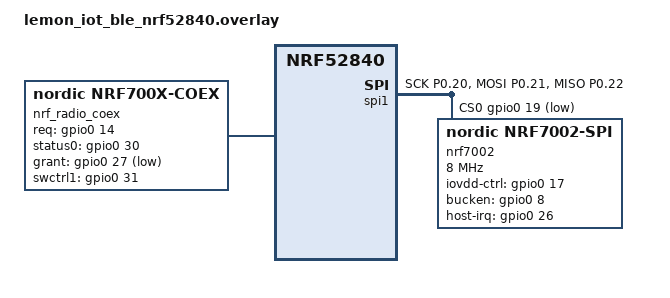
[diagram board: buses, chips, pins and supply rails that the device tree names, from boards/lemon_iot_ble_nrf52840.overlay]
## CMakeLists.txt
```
# SPDX-License-Identifier: Apache-2.0

cmake_minimum_required(VERSION 3.20.0)

find_package(Zephyr REQUIRED HINTS $ENV{ZEPHYR_BASE})
project(wifi_client)

FILE(GLOB app_sources src/*.c)
target_sources(app PRIVATE ${app_sources})
```

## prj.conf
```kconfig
#
# Copyright (c) 2022 Nordic Semiconductor ASA
#
# SPDX-License-Identifier: LicenseRef-Nordic-5-Clause
#
CONFIG_WIFI=y
CONFIG_WIFI_NRF700X=y

# WPA supplicant
CONFIG_WPA_SUPP=y

# System settings
CONFIG_NEWLIB_LIBC=y
CONFIG_NEWLIB_LIBC_NANO=n

# Networking
CONFIG_NETWORKING=y
CONFIG_NET_SOCKETS=y
CONFIG_POSIX_API=y
CONFIG_NET_LOG=y
CONFIG_NET_IPV4=y
CONFIG_NET_UDP=y
CONFIG_NET_TCP=y
CONFIG_DNS_RESOLVER=y
CONFIG_DNS_RESOLVER_AI_MAX_ENTRIES=10
CONFIG_NET_DHCPV4=y

CONFIG_HTTP_CLIENT=y

CONFIG_NET_PKT_RX_COUNT=8
CONFIG_NET_PKT_TX_COUNT=8

# Below section is the primary contributor to SRAM and is currently
# tuned for performance, but this will be revisited in the future.
CONFIG_NET_BUF_RX_COUNT=16
CONFIG_NET_BUF_TX_COUNT=16
CONFIG_NET_BUF_DATA_SIZE=128
CONFIG_HEAP_MEM_POOL_SIZE=153600
CONFIG_NET_TC_TX_COUNT=0

CONFIG_NET_IF_UNICAST_IPV4_ADDR_COUNT=1
CONFIG_NET_MAX_CONTEXTS=5
CONFIG_NET_CONTEXT_SYNC_RECV=y

CONFIG_INIT_STACKS=y

CONFIG_NET_L2_ETHERNET=y

CONFIG_NET_CONFIG_SETTINGS=y

CONFIG_NET_SOCKETS_POLL_MAX=4

# Memories
CONFIG_MAIN_STACK_SIZE=4096
CONFIG_SYSTEM_WORKQUEUE_STACK_SIZE=2048
CONFIG_NET_TX_STACK_SIZE=4096
CONFIG_NET_RX_STACK_SIZE=4096

# Kernel options
CONFIG_ENTROPY_GENERATOR=y

# Logging
CONFIG_LOG=y

# Add for net_mgmt(NET_REQUEST_ETHERNET_SET_MAC_ADDRESS) on SDK 2.2.0. Doesn't appear to be required on 2.3.0
CONFIG_NET_L2_ETHERNET_MGMT=y
```

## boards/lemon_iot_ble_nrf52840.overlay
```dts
/*
 * Overlay for Lemon-IoT-BLE-nRF52840 + nRF7002 WiFi 6 Companion IC
 * Copyright (c) 2023 Aaron Mohtar & Co Pty Ltd
 *
 * SPDX-License-Identifier: Apache-2.0
 */

/ {
	nrf_radio_coex: nrf7002-coex {
		status = "okay";
		compatible = "nordic,nrf700x-coex";
		req-gpios = <&gpio0 14 GPIO_ACTIVE_HIGH>;
		status0-gpios = <&gpio0 30 GPIO_ACTIVE_HIGH>;
		grant-gpios = <&gpio0 27 (GPIO_PULL_DOWN | GPIO_ACTIVE_LOW)>;
		swctrl1-gpios = <&gpio0 31 GPIO_ACTIVE_HIGH>;
		//btrf-switch-gpios = <&gpio1 10 GPIO_ACTIVE_HIGH>;
	};
};

&spi1 {
	status = "okay";
	pinctrl-0 = <&spi1_default>;
	pinctrl-1 = <&spi1_sleep>;
	cs-gpios = <&gpio0 19 GPIO_ACTIVE_LOW>;
	pinctrl-names = "default", "sleep";
	nrf7002: nrf7002@0 {
		status = "okay";
		compatible = "nordic,nrf7002-spi";
		reg = <0>;
		spi-max-frequency = <DT_FREQ_M(8)>;
		/* Wi-Fi Pins used */
		iovdd-ctrl-gpios = <&gpio0 17 GPIO_ACTIVE_HIGH>;
		bucken-gpios = <&gpio0 8 GPIO_ACTIVE_HIGH>;
		host-irq-gpios = <&gpio0 26 GPIO_ACTIVE_HIGH>;
	};
};

&pinctrl {
	spi1_default: spi1_default {
		group1 {
			psels = <NRF_PSEL(SPIM_SCK, 0, 20)>,
					<NRF_PSEL(SPIM_MOSI, 0, 21)>,
					<NRF_PSEL(SPIM_MISO, 0, 22)>;
		};
	};

	spi1_sleep: spi1_sleep {
		group1 {
			psels = <NRF_PSEL(SPIM_SCK, 0, 20)>,
					<NRF_PSEL(SPIM_MOSI, 0, 21)>,
					<NRF_PSEL(SPIM_MISO, 0, 22)>;
			low-power-enable;
		};
	};
};
```

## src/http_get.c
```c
/* 
 * Copyright (c) 2023 Craig Peacock.
 * 
 * API Information:
 * https://docs.zephyrproject.org/3.2.0/connectivity/networking/api/http.html
 *
 * SPDX-License-Identifier: Apache-2.0
 */

#include <stdio.h>
#include <stdlib.h>
#include <zephyr/net/socket.h>
#include <zephyr/kernel.h>
#include <zephyr/net/http/client.h>

void nslookup(const char * hostname, struct zsock_addrinfo **results)
{
	int err;
	
	struct zsock_addrinfo hints = {
		//.ai_family = AF_INET,     // Allow IPv4 Address
		.ai_family = AF_UNSPEC,		// Allow IPv4 or IPv6	
		.ai_socktype = SOCK_STREAM,
	};

	err = zsock_getaddrinfo(hostname, NULL, &hints, (struct zsock_addrinfo **) results);
	if (err) {
		printk("getaddrinfo() failed, err %d\n", errno);
		return;
	}
}

void print_addrinfo_results(struct zsock_addrinfo **results)
{
	char ipv4[INET_ADDRSTRLEN];
	char ipv6[INET6_ADDRSTRLEN];
	struct sockaddr_in *sa;
	struct sockaddr_in6 *sa6;
	struct zsock_addrinfo *rp;
	
	for (rp = (struct zsock_addrinfo *)results; rp != NULL; rp = rp->ai_next) {
		if (rp->ai_addr->sa_family == AF_INET) {
			// IPv4 Address
			sa = (struct sockaddr_in *) rp->ai_addr;
			zsock_inet_ntop(AF_INET, &sa->sin_addr, ipv4, INET_ADDRSTRLEN);
			printk("IPv4: %s\n", ipv4);
		}
		if (rp->ai_addr->sa_family == AF_INET6) {
			// IPv6 Address
			sa6 = (struct sockaddr_in6 *) rp->ai_addr;
			zsock_inet_ntop(AF_INET6, &sa6->sin6_addr, ipv6, INET6_ADDRSTRLEN);
			printk("IPv6: %s\n", ipv6);
		}
	}
}

int connect_socket(struct zsock_addrinfo **results)
{
	int sock;
	struct zsock_addrinfo *rp;
	struct sockaddr_in *sa;

	// Create Socket
	sock = zsock_socket(AF_INET, SOCK_STREAM, IPPROTO_TCP);
	if (sock < 0) {
		printk("Error creating socket\n");
		return(-1);
	}
	
	// Iterate through until we get a successful connection
	for (rp = (struct zsock_addrinfo *)results; rp != NULL; rp = rp->ai_next) {
		if (rp->ai_addr->sa_family == AF_INET) {
			// IPv4 Address
			sa = (struct sockaddr_in *) rp->ai_addr;
			sa->sin_port = htons(80);
			zsock_connect(sock, (struct sockaddr *) sa, sizeof(struct sockaddr_in));
			if (sock > 0)
				break;
		}
	}
	
	return(sock);
}

static void http_response_cb(struct http_response *rsp,
			enum http_final_call final_data,
			void *user_data)
{
	if (final_data == HTTP_DATA_MORE) {
		printk("Partial data received (%zd bytes)\n", rsp->data_len);
	} else if (final_data == HTTP_DATA_FINAL) {
		printk("All the data received (%zd bytes)\n", rsp->data_len);
	}

	printk("Bytes Recv %zd\n", rsp->data_len);
	printk("Response status %s\n", rsp->http_status);
	printk("Recv Buffer Length %zd\n", rsp->recv_buf_len);
	printk("%s\n",rsp->recv_buf);
}

void http_get(int sock, char * hostname, char * url)
{
	struct http_request req = { 0 };
	static uint8_t recv_buf[512];
	int ret;

	req.method = HTTP_GET;
	req.url = url;
	req.host = hostname;
	req.protocol = "HTTP/1.1";
	req.response = http_response_cb;
	req.recv_buf = recv_buf;
	req.recv_buf_len = sizeof(recv_buf);

	/* sock is a file descriptor referencing a socket that has been connected
	* to the HTTP server.
	*/
	ret = http_client_req(sock, &req, 5000, NULL);
}
```

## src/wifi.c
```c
/*
 * Copyright (c) 2023 Craig Peacock.
 * Copyright (c) 2017 ARM Ltd.
 * Copyright (c) 2016 Intel Corporation.
 *
 * SPDX-License-Identifier: Apache-2.0
 */

#include <zephyr/kernel.h>
#include <zephyr/net/net_if.h>
#include <zephyr/net/wifi_mgmt.h>
#include <zephyr/net/net_event.h>
#include <zephyr/net/net_if.h>
#include <zephyr/net/ethernet.h>
#include <zephyr/net/ethernet_mgmt.h>
#include <errno.h>
#include "http_get.h"

/*
 * Set your access point name and paraphase below:
 */

#define SSID "test_ap"
#define PSK "secretsquirrel"

/*
 * Assign locally administered MAC address if not set in OTP
 * Four ranges exist:
 *  x2-xx-xx-xx-xx-xx, x6-xx-xx-xx-xx-xx, xA-xx-xx-xx-xx-xx, xE-xx-xx-xx-xx-xx
 */
#define MAC_ADDRESS 0x02, 0x00, 0x00, 0x00, 0x00, 0x01

static K_SEM_DEFINE(wifi_connected, 0, 1);
static K_SEM_DEFINE(ipv4_address_obtained, 0, 1);

static struct net_mgmt_event_callback wifi_cb;
static struct net_mgmt_event_callback ipv4_cb;

static void handle_wifi_connect_result(struct net_mgmt_event_callback *cb)
{
    const struct wifi_status *status = (const struct wifi_status *)cb->info;

    if (status->status)
    {
        printk("Connection request failed (%d)\n", status->status);
    }
    else
    {
        printk("Connected\n");
        k_sem_give(&wifi_connected);
    }
}

static void handle_wifi_disconnect_result(struct net_mgmt_event_callback *cb)
{
    const struct wifi_status *status = (const struct wifi_status *)cb->info;

    if (status->status)
    {
        printk("Disconnection request (%d)\n", status->status);
    }
    else
    {
        printk("Disconnected\n");
        k_sem_take(&wifi_connected, K_NO_WAIT);
    }
}

static void handle_ipv4_result(struct net_if *iface)
{
    int i = 0;

    for (i = 0; i < NET_IF_MAX_IPV4_ADDR; i++) {

        char buf[NET_IPV4_ADDR_LEN];

        if (iface->config.ip.ipv4->unicast[i].addr_type != NET_ADDR_DHCP) {
            continue;
        }

        printk("IPv4 address: %s\n",
                net_addr_ntop(AF_INET,
                                &iface->config.ip.ipv4->unicast[i].address.in_addr,
                                buf, sizeof(buf)));
        printk("Subnet: %s\n",
                net_addr_ntop(AF_INET,
                                &iface->config.ip.ipv4->netmask,
                                buf, sizeof(buf)));
        printk("Router: %s\n",
                net_addr_ntop(AF_INET,
                                &iface->config.ip.ipv4->gw,
                                buf, sizeof(buf)));
        }

        k_sem_give(&ipv4_address_obtained);
}

static void wifi_mgmt_event_handler(struct net_mgmt_event_callback *cb, uint32_t mgmt_event, struct net_if *iface)
{
    switch (mgmt_event)
    {

        case NET_EVENT_WIFI_CONNECT_RESULT:
            handle_wifi_connect_result(cb);
            break;

        case NET_EVENT_WIFI_DISCONNECT_RESULT:
            handle_wifi_disconnect_result(cb);
            break;

        case NET_EVENT_IPV4_ADDR_ADD:
            handle_ipv4_result(iface);
            break;

        default:
            break;
    }
}

void wifi_connect(void)
{
    struct net_if *iface = net_if_get_default();

    struct wifi_connect_req_params wifi_params = {0};

    wifi_params.ssid = SSID;
    wifi_params.psk = PSK;
    wifi_params.ssid_length = strlen(SSID);
    wifi_params.psk_length = strlen(PSK);
    wifi_params.channel = WIFI_CHANNEL_ANY;
    wifi_params.security = WIFI_SECURITY_TYPE_PSK;
    wifi_params.band = WIFI_FREQ_BAND_2_4_GHZ; 
    wifi_params.mfp = WIFI_MFP_OPTIONAL;

    printk("Connecting to SSID: %s\n", wifi_params.ssid);

    if (net_mgmt(NET_REQUEST_WIFI_CONNECT, iface, &wifi_params, sizeof(struct wifi_connect_req_params)))
    {
        printk("WiFi Connection Request Failed\n");
    }
}

void wifi_status(void)
{
    struct net_if *iface = net_if_get_default();
    
    struct wifi_iface_status status = {0};

    if (net_mgmt(NET_REQUEST_WIFI_IFACE_STATUS, iface, &status,	sizeof(struct wifi_iface_status)))
    {
        printk("WiFi Status Request Failed\n");
    }

    printk("\n");

    if (status.state >= WIFI_STATE_ASSOCIATED) {
        printk("SSID: %-32s\n", status.ssid);
        printk("Band: %s\n", wifi_band_txt(status.band));
        printk("Channel: %d\n", status.channel);
        printk("Security: %s\n", wifi_security_txt(status.security));
        printk("RSSI: %d\n", status.rssi);
    }
}

void wifi_disconnect(void)
{
    struct net_if *iface = net_if_get_default();

    if (net_mgmt(NET_REQUEST_WIFI_DISCONNECT, iface, NULL, 0))
    {
        printk("WiFi Disconnection Request Failed\n");
    }
}

void wifi_interface_setup()
{
    /*
     * New nRF7002's come with the OTP memory blank. i.e. no programmed MAC Address.
     * It will report:
     * <inf> wifi_nrf: wifi_nrf_fmac_otp_mac_addr_get:  Invalid OTP MAC addr: 000000000000
     * <err> wifi_nrf: wifi_nrf_if_start_zep: Invalid MAC address: 00:00:00:00:00:00
     * and the wlan0 interface will not be up.
     * 
     * We set the MAC address and bring the interface up
     */

    int ret;
    struct net_if *iface = net_if_get_default();
    struct net_linkaddr *linkaddr = net_if_get_link_addr(iface);
    struct ethernet_req_params params = {0};
    bool mac_non_zero = false;

    printk("Hostname: %s\r\n", net_hostname_get());

    if (linkaddr->type == NET_LINK_ETHERNET)
    {
        printk("Ethernet MAC Address = ");
        for (int i = 0; i < linkaddr->len; i++) {
            printk("%02X",linkaddr->addr[i]);
            if (i < (linkaddr->len -1)) printk(":");
            if (linkaddr->addr[i] != 0x00) mac_non_zero = true;
        }
        printk("\r\n");
    }

    if (net_if_is_up(iface)) {
        printk("Network Interface %s is up.\r\n", iface->if_dev->dev->name);
    } else {
        printk("Network Interface %s is down.\r\n", iface->if_dev->dev->name);
    }

    if (!mac_non_zero) {
        printk("Setting MAC Address\r\n");

        int8_t mac_id_string[6] = {MAC_ADDRESS};
        memcpy(params.mac_address.addr, mac_id_string, 6);

        ret = net_mgmt(NET_REQUEST_ETHERNET_SET_MAC_ADDRESS, iface, &params, sizeof(struct ethernet_req_params));
        if (ret != 0)
        {
            printk("Eth Set MAC Address Request Failed (%d)\n",ret);
        }

        if (net_if_up(iface) == 0) {
            printk("Network Interface %s is up.\r\n", iface->if_dev->dev->name);
        } else {
            printk("Unable to bring up %s interface\n", iface->if_dev->dev->name);
        }

        k_sleep(K_SECONDS(1));
    }
}

void main(void)
{
    int sock;

    printk("WiFi Example\nBoard: %s\n", CONFIG_BOARD);

    net_mgmt_init_event_callback(&wifi_cb, wifi_mgmt_event_handler,
                                 NET_EVENT_WIFI_CONNECT_RESULT | NET_EVENT_WIFI_DISCONNECT_RESULT);

    net_mgmt_init_event_callback(&ipv4_cb, wifi_mgmt_event_handler, NET_EVENT_IPV4_ADDR_ADD);

    net_mgmt_add_event_callback(&wifi_cb);
    net_mgmt_add_event_callback(&ipv4_cb);

    // Delay to prevent "Unable to get wpa_s handle for wlan0" on nRF Connect SDK 2.3.0.?
    printk("Sleeping for 1 second while wlan0 comes up\n");
    k_sleep(K_SECONDS(1));

    wifi_interface_setup();
    wifi_connect();
    k_sem_take(&wifi_connected, K_FOREVER);
    wifi_status();
    k_sem_take(&ipv4_address_obtained, K_FOREVER);
    printk("Ready...\n\n");
    
    printk("Looking up IP addresses:\n");
    struct zsock_addrinfo *res;
    nslookup("iot.beyondlogic.org", &res);
    print_addrinfo_results(&res);

    printk("Connecting to HTTP Server:\n");
    sock = connect_socket(&res);
    http_get(sock, "iot.beyondlogic.org", "/test.txt");
    zsock_close(sock);
    
    // Stay connected for 30 seconds, then disconnect.
    //k_sleep(K_SECONDS(30));    
    //wifi_disconnect();
}
```
